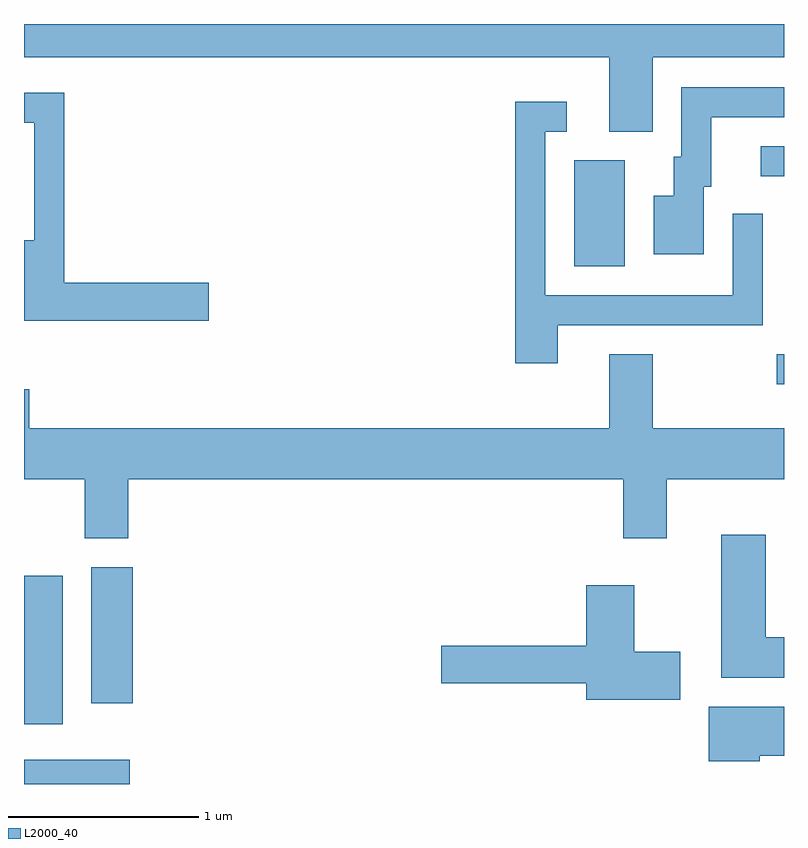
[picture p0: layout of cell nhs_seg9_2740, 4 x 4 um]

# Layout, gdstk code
import gdstk
lib = gdstk.Library(unit=1e-6, precision=1e-09)
def R(c, l, rs):  # rectangles x0, y0, x1, y1
    for r in rs: c.add(gdstk.rectangle(r[:2], r[2:], *l))
def P(c, l, *ps):  # polygons
    for p in ps: c.add(gdstk.Polygon(p, *l))
L2000_40 = (2000, 40)

nhs_seg9_2740 = lib.new_cell('nhs_seg9_2740')
R(nhs_seg9_2740, L2000_40, [(265.611,1992.432,266.168,1992.559), (265.611,1992.746,265.814,1993.529), (265.966,1992.856,266.184,1993.574), (269.573,1994.536,269.611,1994.694), (268.506,1995.156,268.774,1995.714), (269.488,1995.631,269.611,1995.789)])
P(nhs_seg9_2740, L2000_40, [(268.919,1996.256),(269.611,1996.256),(269.611,1996.432),(265.611,1996.432),(265.611,1996.256),(268.691,1996.256),(268.691,1995.866),(268.919,1995.866)],
  [(269.189,1995.576),(269.229,1995.576),(269.229,1995.941),(269.611,1995.941),(269.611,1996.099),(269.071,1996.099),(269.071,1995.734),(269.031,1995.734),(269.031,1995.529),(268.926,1995.529),(268.926,1995.221),(269.189,1995.221)],
  [(266.584,1995.069),(265.824,1995.069),(265.824,1996.069),(265.611,1996.069),(265.611,1995.911),(265.666,1995.911),(265.666,1995.294),(265.611,1995.294),(265.611,1994.871),(266.584,1994.871)],
  [(268.419,1994.846),(269.499,1994.846),(269.499,1995.433),(269.341,1995.433),(269.341,1995.004),(268.354,1995.004),(268.354,1995.866),(268.468,1995.866),(268.468,1996.024),(268.196,1996.024),(268.196,1994.646),(268.419,1994.646)],
  [(266.159,1994.036),(268.766,1994.036),(268.766,1993.726),(268.994,1993.726),(268.994,1994.036),(269.611,1994.036),(269.611,1994.304),(268.919,1994.304),(268.919,1994.694),(268.691,1994.694),(268.691,1994.304),(265.639,1994.304),(265.639,1994.509),(265.611,1994.509),(265.611,1994.036),(265.931,1994.036),(265.931,1993.726),(266.159,1993.726)],
  [(269.611,1993.204),(269.514,1993.204),(269.514,1993.744),(269.281,1993.744),(269.281,1992.991),(269.611,1992.991)],
  [(269.064,1993.129),(268.824,1993.129),(268.824,1993.479),(268.571,1993.479),(268.571,1993.159),(267.806,1993.159),(267.806,1992.961),(268.571,1992.961),(268.571,1992.876),(269.064,1992.876)],
  [(269.484,1992.581),(269.611,1992.581),(269.611,1992.839),(269.216,1992.839),(269.216,1992.551),(269.484,1992.551)])

lib.write_gds('nhs_seg9_2740.gds')
